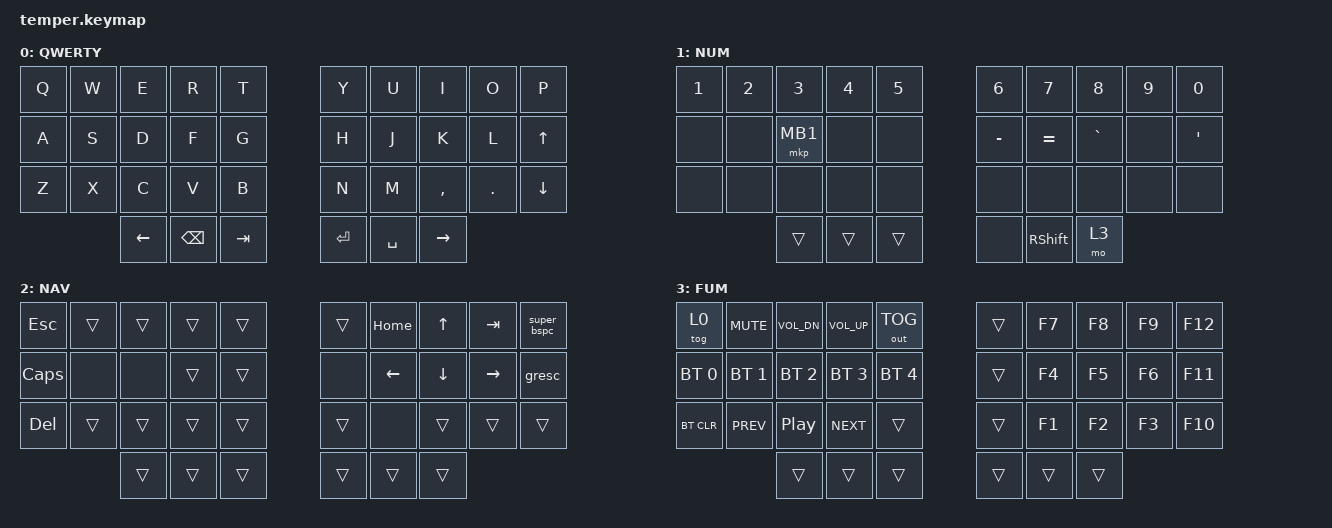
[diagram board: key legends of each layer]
/*
 * Copyright (c) 2020 The ZMK Contributors
 *
 * SPDX-License-Identifier: MIT
 */

#include <behaviors.dtsi>
#include <dt-bindings/zmk/bt.h>
#include <dt-bindings/zmk/keys.h>
#include <dt-bindings/zmk/mouse.h>
#include <dt-bindings/zmk/outputs.h>

#define QWERTY 0
#define NUM 1
#define NAV 2
#define FUN 3

/ {
    conditional_layers {
        compatible = "zmk,conditional-layers";

        tri_layer {
            if-layers = <1 2>;
            then-layer = <3>;
        };
    };

    behaviors {
        bspc_del: backspace_delete {
            compatible = "zmk,behavior-mod-morph";
            #binding-cells = <0>;
            bindings = <&kp BACKSPACE>, <&kp DELETE>;

            mods = <(MOD_LSFT|MOD_RSFT)>;
            keep-mods = <(MOD_RSFT)>;
        };

        super_bspc: super_backspace {
            compatible = "zmk,behavior-mod-morph";
            #binding-cells = <0>;
            bindings = <&kp BACKSPACE>, <&kp LA(BACKSPACE)>;

            mods = <(MOD_LSFT|MOD_RSFT)>;
        };

        smart_shft: smart_shift {
            compatible = "zmk,behavior-mod-morph";
            #binding-cells = <0>;
            bindings = <&kp LSHFT>, <&caps_word>;

            mods = <(MOD_LSFT)>;
        };

        comma_semi: comma_semi {
            compatible = "zmk,behavior-mod-morph";
            #binding-cells = <0>;
            bindings = <&kp COMMA>, <&kp SEMI>;

            mods = <(MOD_LSFT)>;
        };

        dot_colon: dot_colon {
            compatible = "zmk,behavior-mod-morph";
            #binding-cells = <0>;
            bindings = <&kp DOT>, <&kp COLON>;

            mods = <(MOD_LSFT)>;
        };

        qmrk_excl: qmrk_excl {
            compatible = "zmk,behavior-mod-morph";
            #binding-cells = <0>;
            bindings = <&kp QMARK>, <&kp EXCL>;

            mods = <(MOD_LSFT)>;
        };

        slh_morph: slh_morph {
            compatible = "zmk,behavior-mod-morph";
            #binding-cells = <0>;
            bindings = <&kp FSLH>, <&kp BSLH>;

            mods = <(MOD_LSFT)>;
        };

        amps_morph: amps_morph {
            compatible = "zmk,behavior-mod-morph";
            #binding-cells = <0>;
            bindings = <&kp AMPS>, <&kp PIPE>;

            mods = <(MOD_LSFT)>;
        };

        hm: homerow_mods {
            compatible = "zmk,behavior-hold-tap";
            label = "homerow_mods";
            bindings = <&kp>, <&kp>;

            #binding-cells = <2>;
            flavor = "tap-preferred";
            tapping-term-ms = <200>;
        };

        ltq: ltq {
            compatible = "zmk,behavior-hold-tap";
            label = "LTQ";
            bindings = <&mo>, <&kp>;

            #binding-cells = <2>;
            tapping-term-ms = <200>;
            quick-tap-ms = <180>;
        };
    };

    combos {
        compatible = "zmk,combos";

        left_bkt {
            bindings = <&kp LBKT>;
            key-positions = <3 2>;
        };

        right_bkt {
            bindings = <&kp RBKT>;
            key-positions = <6 7>;
        };

        left_par {
            bindings = <&kp LEFT_PARENTHESIS>;
            key-positions = <12 13>;
        };

        right_par {
            bindings = <&kp RIGHT_PARENTHESIS>;
            key-positions = <16 17>;
        };

        left_prc {
            bindings = <&kp LEFT_BRACE>;
            key-positions = <22 23>;
        };

        right_prc {
            bindings = <&kp RBRC>;
            key-positions = <26 27>;
        };

        pipe {
            bindings = <&kp PIPE>;
            key-positions = <14 15>;
        };

        blsh {
            bindings = <&kp BSLH>;
            key-positions = <4 5>;
        };

        enter {
            bindings = <&kp ENTER>;
            key-positions = <18 19>;
        };
    };

    keymap {
        compatible = "zmk,keymap";

        qwerty_layer {
            display-name = "QWERTY";
            bindings = <
  &kp Q  &kp W  &kp E           &kp R     &kp T      &kp Y      &kp U      &kp I      &kp O    &kp P
  &kp A  &kp S  &kp D           &kp F     &kp G      &kp H      &kp J      &kp K      &kp L    &kp UP
  &kp Z  &kp X  &kp C           &kp V     &kp B      &kp N      &kp M      &kp COMMA  &kp DOT  &kp DOWN
                &kp LEFT_ARROW  &kp BSPC  &kp TAB    &kp ENTER  &kp SPACE  &kp RIGHT
            >;
        };

        num_layer {
            display-name = "NUM";
            bindings = <
  &kp N1  &kp NUMBER_2  &kp NUMBER_3  &kp NUMBER_4  &kp N5    &kp NUMBER_6  &kp N7           &kp N8     &kp N9  &kp N0
  &none   &none         &mkp MB1      &none         &none     &kp MINUS     &kp EQUAL        &kp GRAVE  &none   &kp SQT
  &none   &none         &none         &none         &none     &none         &none            &none      &none   &none
                        &trans        &trans        &trans    &none         &kp RIGHT_SHIFT  &mo 3
            >;
        };

        nav_layer {
            display-name = "NAV";
            bindings = <
  &kp ESC   &trans  &trans  &trans  &trans    &trans  &kp HOME  &kp UP_ARROW  &kp TAB    &super_bspc
  &kp CAPS  &none   &none   &trans  &trans    &none   &kp LEFT  &kp DOWN      &kp RIGHT  &gresc
  &kp DEL   &trans  &trans  &trans  &trans    &trans  &none     &trans        &trans     &trans
                    &trans  &trans  &trans    &trans  &trans    &trans
            >;
        };

        fun_layer {
            display-name = "FUM";
            bindings = <
  &tog 0        &kp K_MUTE    &kp C_VOL_DN  &kp C_VOL_UP  &out OUT_TOG    &trans  &kp F7  &kp F8  &kp F9  &kp F12
  &bt BT_SEL 0  &bt BT_SEL 1  &bt BT_SEL 2  &bt BT_SEL 3  &bt BT_SEL 4    &trans  &kp F4  &kp F5  &kp F6  &kp F11
  &bt BT_CLR    &kp C_PREV    &kp C_PP      &kp C_NEXT    &trans          &trans  &kp F1  &kp F2  &kp F3  &kp F10
                              &trans        &trans        &trans          &trans  &trans  &trans
            >;
        };
    };
};
